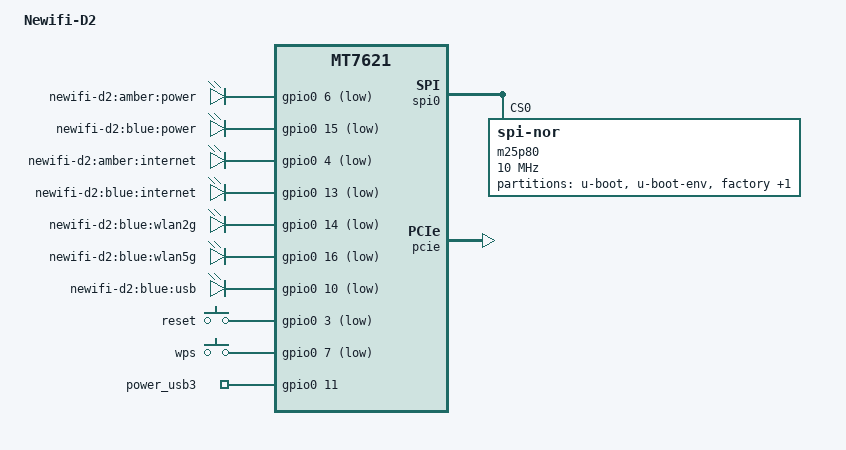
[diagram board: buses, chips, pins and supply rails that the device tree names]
/dts-v1/;

#include "mt7621.dtsi"

#include <dt-bindings/input/input.h>

/ {
	model = "Newifi-D2";

	chosen {
		bootargs = "console=ttyS0,115200";
	};

	gpio-leds {
		compatible = "gpio-leds";

		power-amber {
			label = "newifi-d2:amber:power";
			gpios = <&gpio0 6 1>;
		};

		power-blue {
			label = "newifi-d2:blue:power";
			gpios = <&gpio0 15 1>;
		};

		internet-amber {
			label = "newifi-d2:amber:internet";
			gpios = <&gpio0 4 1>;
		};

		internet-blue {
			label = "newifi-d2:blue:internet";
			gpios = <&gpio0 13 1>;
		};

		wlan2g {
			label = "newifi-d2:blue:wlan2g";
			gpios = <&gpio0 14 1>;
		};

		wlan5g {
			label = "newifi-d2:blue:wlan5g";
			gpios = <&gpio0 16 1>;
		};

		usb {
			label = "newifi-d2:blue:usb";
			gpios = <&gpio0 10 1>;
			trigger-sources = <&xhci_ehci_port1>, <&ehci_port2>;
			linux,default-trigger = "usbport";
		};
	};

	gpio-keys-polled {
		compatible = "gpio-keys-polled";
		#address-cells = <1>;
		#size-cells = <0>;
		poll-interval = <20>;

		reset {
			label = "reset";
			gpios = <&gpio0 3 1>;
			linux,code = <KEY_RESTART>;
		};

		wps {
			label = "wps";
			gpios = <&gpio0 7 1>;
			linux,code = <KEY_WPS_BUTTON>;
		};
	};

	gpio_export {
		compatible = "gpio-export";
		#size-cells = <0>;

		power_usb3 {
			gpio-export,name = "power_usb3";
			gpio-export,output = <1>;
			gpios = <&gpio0 11 0>;
		};
	};
};

&hsdma {
	status = "okay";
};

&spi0 {
	status = "okay";

	m25p80@0 {
		#address-cells = <1>;
		#size-cells = <1>;
		compatible = "jedec,spi-nor";
		reg = <0>;
		spi-max-frequency = <10000000>;
		m25p,chunked-io = <32>;
		apply-4byte-shutdown;

		partition@0 {
			label = "u-boot";
			reg = <0x0 0x30000>;
		};

		partition@30000 {
			label = "u-boot-env";
			reg = <0x30000 0x10000>;
		};

		factory: partition@40000 {
			label = "factory";
			reg = <0x40000 0x10000>;
		};

		partition@50000 {
			label = "firmware";
			reg = <0x50000 0x1fb0000>;
		};
	};
};

&pcie {
	status = "okay";

	pcie0 {
		mt76@0,0 {
			reg = <0x0000 0 0 0 0>;
			device_type = "pci";
			mediatek,mtd-eeprom = <&factory 0x8000>;
			ieee80211-freq-limit = <5000000 6000000>;
		};
	};

	pcie1 {
		mt76@1,0 {
			reg = <0x0000 0 0 0 0>;
			device_type = "pci";
			mediatek,mtd-eeprom = <&factory 0x0000>;
			ieee80211-freq-limit = <2400000 2500000>;
		};
	};
};

&ethernet {
	mtd-mac-address = <&factory 0xe000>;
};

&pinctrl {
	state_default: pinctrl0 {
		gpio {
			ralink,group = "wdt", "rgmii2", "jtag", "uart2", "uart3", "i2c";
			ralink,function = "gpio";
		};
	};
};
